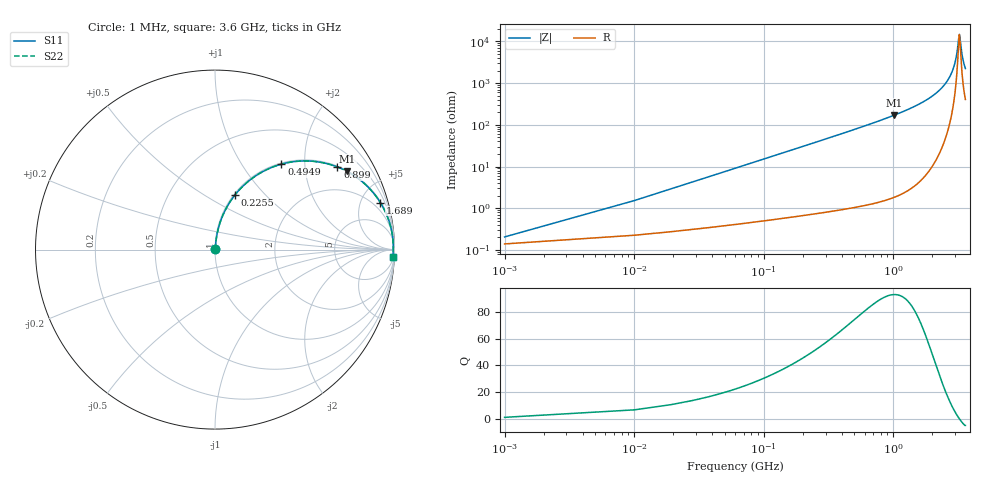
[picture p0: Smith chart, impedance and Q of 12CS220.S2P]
! Coilcraft 1206CS-220 Chip Inductor
! 29 July 2002
# MHZ S MA R 50
!Freq  MagS11  AngS11  MagS21  AngS21  MagS12  AngS12  MagS22  AngS22
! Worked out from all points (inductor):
!   402 points, 1 MHz to 3.6 GHz, reference 50 ohm
!   read as one part in series: L = 24 nH near 18.96 MHz
!   highest Q = 93.1 at 1.007 GHz (marker M1), where L = 26.6 nH
!   self-resonance near 3.234 GHz
!   S11 on the Smith chart (normalised r, x): 1 MHz: 1.00, +0.00; 225.5 MHz: 1.01, +0.68; 494.9 MHz: 1.02, +1.53; 899 MHz: 1.03, +2.94; 1.689 GHz: 1.10, +7.01; 3.6 GHz: 9, -44
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1  0.002053 47.1  0.9986 -0.1  0.9986 -0.1  0.002053 47.1
27.94  0.04208 83.4  0.996 -2.4  0.996 -2.4  0.04208 83.4
36.92  0.05551 83.3  0.9951 -3.2  0.9951 -3.2  0.05551 83.3
54.88  0.08227 82.6  0.9927 -4.7  0.9927 -4.7  0.08227 82.6
117.74  0.1742 78.3  0.9795 -10.0  0.9795 -10.0  0.1742 78.3
225.5  0.3214 70.1  0.9404 -18.7  0.9404 -18.7  0.3214 70.1
342.24  0.4597 61.7  0.8806 -27.4  0.8806 -27.4  0.4597 61.7
494.9  0.6033 52.1  0.7894 -37.1  0.7894 -37.1  0.6033 52.1
602.66  0.6813 46.3  0.7236 -42.9  0.7236 -42.9  0.6813 46.3
899  0.8226 34.0  0.5598 -55.3  0.5598 -55.3  0.8226 34.0
1006.76  0.8554 30.6  0.5088 -58.8  0.5088 -58.8  0.8554 30.6
1204.32  0.8997 25.3  0.4267 -64.1  0.4267 -64.1  0.8997 25.3
1689.24  0.9579 15.9  0.2734 -73.3  0.2734 -73.3  0.9579 15.9
1805.98  0.9658 14.1  0.244 -74.9  0.244 -74.9  0.9658 14.1
2407.64  0.9879 7.0  0.1213 -80.8  0.1213 -80.8  0.9879 7.0
2766.84  0.9925 3.7  0.06394 -81.4  0.06394 -81.4  0.9925 3.7
3000.32  0.9934 1.8  0.03115 -77.0  0.03115 -77.0  0.9934 1.8
3090.12  0.9935 1.1  0.01958 -70.0  0.01958 -70.0  0.9935 1.1
3206.86  0.9933 0.2  0.00753 -26.8  0.00753 -26.8  0.9933 0.2
3233.8  0.9932 0.0  0.006794 -0.1  0.006794 -0.1  0.9932 0.0
3413.4  0.9924 -1.3  0.02318 70.2  0.02318 70.2  0.9924 -1.3
3600  0.991 -2.5  0.04436 77.1  0.04436 77.1  0.991 -2.5
